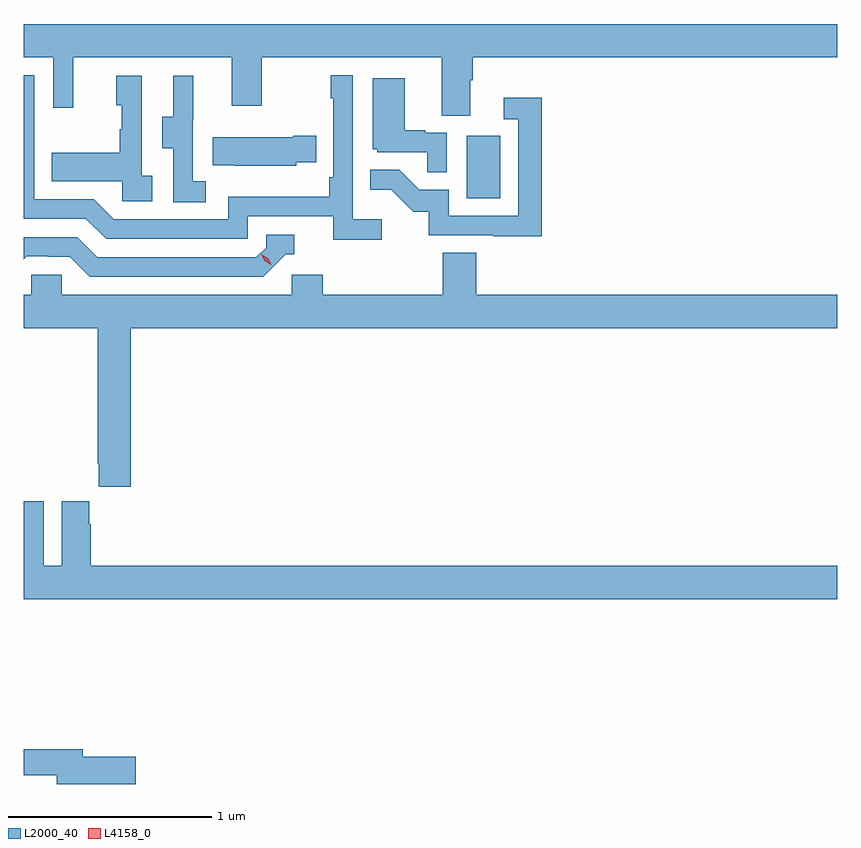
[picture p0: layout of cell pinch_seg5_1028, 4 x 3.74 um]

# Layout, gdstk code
import gdstk
lib = gdstk.Library(unit=1e-6, precision=1e-09)
def R(c, l, rs):  # rectangles x0, y0, x1, y1
    for r in rs: c.add(gdstk.rectangle(r[:2], r[2:], *l))
def P(c, l, *ps):  # polygons
    for p in ps: c.add(gdstk.Polygon(p, *l))
L2000_40 = (2000, 40)
L4158_0 = (4158, 0)

pinch_seg5_1028 = lib.new_cell('pinch_seg5_1028')
R(pinch_seg5_1028, L2000_40, [(829.364,856.068,829.528,856.375)])
P(pinch_seg5_1028, L2000_40, [(827.186,856.76),(827.331,856.76),(827.331,856.512),(827.429,856.512),(827.429,856.76),(828.209,856.76),(828.209,856.521),(828.357,856.521),(828.357,856.76),(829.241,856.76),(829.241,856.474),(829.381,856.474),(829.381,856.648),(829.394,856.648),(829.394,856.76),(831.186,856.76),(831.186,856.924),(827.186,856.924)],
  [(828.946,855.964),(828.804,855.964),(828.804,856.672),(828.696,856.672),(828.696,856.559),(828.708,856.559),(828.708,856.171),(828.688,856.171),(828.688,856.075),(828.192,856.075),(828.192,855.963),(827.628,855.963),(827.529,856.062),(827.238,856.062),(827.238,856.671),(827.186,856.671),(827.186,855.966),(827.492,855.966),(827.591,855.867),(828.288,855.867),(828.288,855.978),(828.707,855.978),(828.707,855.862),(828.946,855.862)],
  [(828.082,856.151),(828.018,856.151),(828.018,856.455),(828.02,856.455),(828.02,856.669),(827.921,856.669),(827.921,856.467),(827.867,856.467),(827.867,856.312),(827.922,856.312),(827.922,856.048),(828.082,856.048)],
  [(827.818,856.178),(827.766,856.178),(827.766,856.669),(827.642,856.669),(827.642,856.524),(827.668,856.524),(827.668,856.406),(827.658,856.406),(827.658,856.291),(827.323,856.291),(827.323,856.151),(827.67,856.151),(827.67,856.053),(827.818,856.053)],
  [(829.266,856.389),(829.16,856.389),(829.16,856.402),(829.06,856.402),(829.06,856.657),(828.902,856.657),(828.902,856.308),(828.924,856.308),(828.924,856.293),(829.171,856.293),(829.171,856.195),(829.266,856.195)],
  [(829.733,856.561),(829.545,856.561),(829.545,856.455),(829.617,856.455),(829.617,855.981),(829.275,855.981),(829.275,856.11),(829.131,856.11),(829.033,856.208),(828.889,856.208),(828.889,856.109),(828.993,856.109),(829.1,856.002),(829.177,856.002),(829.177,855.885),(829.495,855.885),(829.495,855.88),(829.733,855.88)],
  [(828.525,856.244),(828.623,856.244),(828.623,856.374),(828.512,856.374),(828.512,856.366),(828.115,856.366),(828.115,856.229),(828.223,856.229),(828.223,856.226),(828.525,856.226)],
  [(828.474,855.792),(828.517,855.792),(828.517,855.888),(828.378,855.888),(828.378,855.825),(828.33,855.777),(827.547,855.777),(827.448,855.876),(827.186,855.876),(827.186,855.768),(827.201,855.783),(827.304,855.783),(827.304,855.78),(827.411,855.78),(827.51,855.681),(828.363,855.681)],
  [(827.711,855.428),(831.186,855.428),(831.186,855.592),(829.412,855.592),(829.412,855.8),(829.247,855.8),(829.247,855.592),(828.656,855.592),(828.656,855.69),(828.504,855.69),(828.504,855.592),(827.373,855.592),(827.373,855.69),(827.223,855.69),(827.223,855.592),(827.186,855.592),(827.186,855.428),(827.551,855.428),(827.551,854.761),(827.555,854.761),(827.555,854.649),(827.711,854.649)],
  [(831.186,854.26),(827.516,854.26),(827.516,854.465),(827.509,854.465),(827.509,854.578),(827.372,854.578),(827.372,854.26),(827.284,854.26),(827.284,854.578),(827.186,854.578),(827.186,854.096),(831.186,854.096)],
  [(827.737,853.322),(827.476,853.322),(827.476,853.358),(827.186,853.358),(827.186,853.23),(827.348,853.23),(827.348,853.187),(827.737,853.187)])
P(pinch_seg5_1028, L4158_0, [(828.401,855.739),(828.371,855.759),(828.355,855.791),(828.355,855.792),(828.355,855.792),(828.386,855.772),(828.402,855.739),(828.402,855.739)])

lib.write_gds('pinch_seg5_1028.gds')
